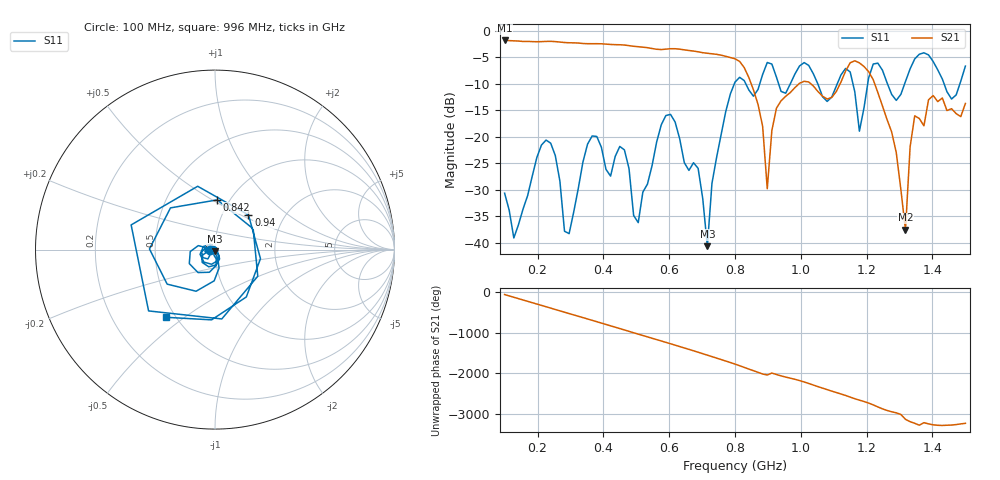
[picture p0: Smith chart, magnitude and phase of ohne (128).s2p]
! NanoVNA-App
! Date: 2025-09-25 14:21:48
! Start: 100MHz Stop: 1,5GHz Points: 101
! S-Parameter data: F S11 S21 S12 S22
# Hz S RI R 50
!  Frequency  S11_Real  S11_Imag  S21_Real  S21_Imag  S12_Real  S12_Imag  S22_Real  S22_Imag
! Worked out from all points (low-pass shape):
!   101 points, 100 MHz to 1.5 GHz, reference 50 ohm
!   highest |S21| = -1.79 dB at 100 MHz (marker M1); lowest = -37.5 dB at 1.318 GHz (marker M2)
!   |S21| within 3 dB of the highest: start of sweep to 772.1 MHz
!   lowest |S11| = -40.6 dB at 716 MHz (marker M3), VSWR 1.02, Z = 49.7 - j0.889 ohm
!   |S11| at or under -10 dB: start of sweep to 797.9 MHz; 833 MHz to 875.1 MHz (42.16 MHz wide, 4.94 % of centre); 1.052 GHz to 1.111 GHz (58.82 MHz wide, 5.44 % of centre) (the widest 3 of 7)
!   S12 and S22 are empty: the file has one direction only
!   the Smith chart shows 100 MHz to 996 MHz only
!   S11 on the Smith chart (normalised r, x): 100 MHz: 0.94, -0.01; 842 MHz: 0.88, +0.53; 940 MHz: 1.33, +0.55; 996 MHz: 0.44, -0.43
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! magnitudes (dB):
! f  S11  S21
! 100 MHz  -30.6  -1.8
! 128 MHz  -39.1  -1.9
! 226 MHz  -20.6  -2.0
! 296 MHz  -38.3  -2.2
! 338 MHz  -24.7  -2.4
! 464 MHz  -22.5  -2.7
! 506 MHz  -36.2  -3.0
! 576 MHz  -17.7  -3.5
! 688 MHz  -25.9  -3.9
! 716 MHz  -40.6  -4.2
! 800 MHz  -9.7  -5.2
! 842 MHz  -11.1  -8.8
! 898 MHz  -6.0  -29.8
! 940 MHz  -11.4  -13.2
! 996 MHz  -6.6  -9.9
! 1.038 GHz  -8.1  -10.4
! 1.178 GHz  -18.9  -6.0
! 1.22 GHz  -6.2  -9.2
! 1.276 GHz  -12.0  -19.1
! 1.318 GHz  -9.5  -37.5
! 1.346 GHz  -5.3  -16.0
! 1.5 GHz  -6.6  -13.7
